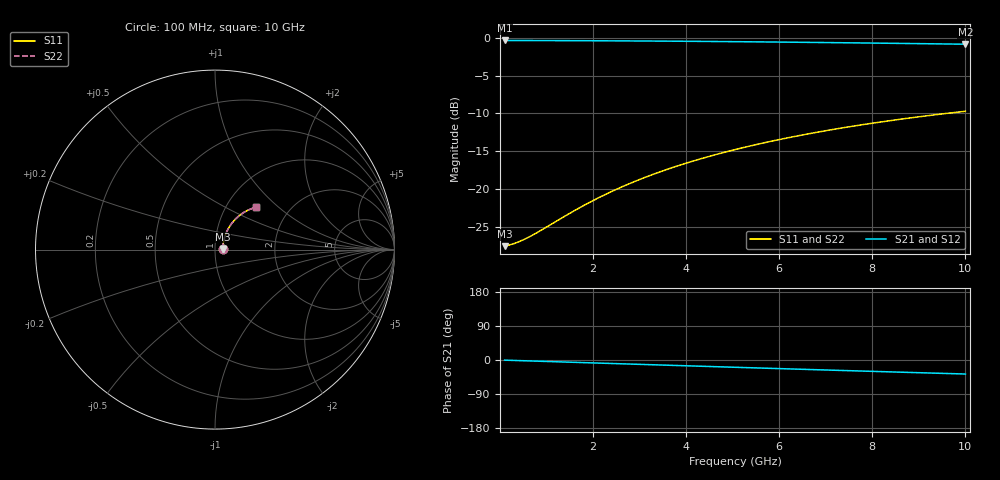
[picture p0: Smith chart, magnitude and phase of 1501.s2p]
# Hz S RI R 50.00
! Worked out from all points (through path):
!   100 points, 100 MHz to 10 GHz, reference 50 ohm
!   highest |S21| = -0.37 dB at 100 MHz (marker M1); lowest = -0.9 dB at 10 GHz (marker M2)
!   group delay of S21, straight-line fit = 10.3 ps
!   lowest |S11| = -27.5 dB at 100 MHz (marker M3), VSWR 1.09, Z = 54.4 + j0.365 ohm
!   |S11| at or under -10 dB: start of sweep to 9.579 GHz
!   |S22| runs from -27.5 to -9.7 dB; largest |S21 - S12| = 0
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1e8  0.0421 0.00335  0.9579 -0.00643  0.9579 -0.00643  0.0421 0.00335
3e8  0.0427 0.01  0.9572 -0.0193  0.9572 -0.0193  0.0427 0.01
4e8  0.0431 0.0134  0.9568 -0.0257  0.9568 -0.0257  0.0431 0.0134
6e8  0.0438 0.02  0.956 -0.0385  0.956 -0.0385  0.0438 0.02
8e8  0.0446 0.0267  0.9551 -0.0513  0.9551 -0.0513  0.0446 0.0267
1.5e9  0.0487 0.0496  0.9501 -0.0958  0.9501 -0.0958  0.0487 0.0496
1.8e9  0.0511 0.0593  0.9473 -0.1148  0.9473 -0.1148  0.0511 0.0593
2.2e9  0.0549 0.072  0.9427 -0.1398  0.9427 -0.1398  0.0549 0.072
2.6e9  0.0592 0.0845  0.9374 -0.1646  0.9374 -0.1646  0.0592 0.0845
3e9  0.0643 0.0967  0.9313 -0.1892  0.9313 -0.1892  0.0643 0.0967
3.4e9  0.0699 0.1086  0.9244 -0.2134  0.9244 -0.2134  0.0699 0.1086
3.8e9  0.0762 0.1201  0.9167 -0.2372  0.9167 -0.2372  0.0762 0.1201
4.2e9  0.083 0.1313  0.9083 -0.2607  0.9083 -0.2607  0.083 0.1313
4.6e9  0.0904 0.142  0.8992 -0.2838  0.8992 -0.2838  0.0904 0.142
5.1e9  0.1003 0.1547  0.8869 -0.312  0.8869 -0.312  0.1003 0.1547
5.5e9  0.1088 0.1644  0.8763 -0.334  0.8763 -0.334  0.1088 0.1644
5.9e9  0.1178 0.1736  0.8651 -0.3556  0.8651 -0.3556  0.1178 0.1736
6.7e9  0.1369 0.1904  0.841 -0.397  0.841 -0.397  0.1369 0.1904
7.5e9  0.1573 0.2049  0.8148 -0.4364  0.8148 -0.4364  0.1573 0.2049
8.4e9  0.1817 0.2185  0.7833 -0.4778  0.7833 -0.4778  0.1817 0.2185
9.2e9  0.2042 0.2281  0.7536 -0.5122  0.7536 -0.5122  0.2042 0.2281
1e10  0.2273 0.2353  0.7227 -0.5443  0.7227 -0.5443  0.2273 0.2353
